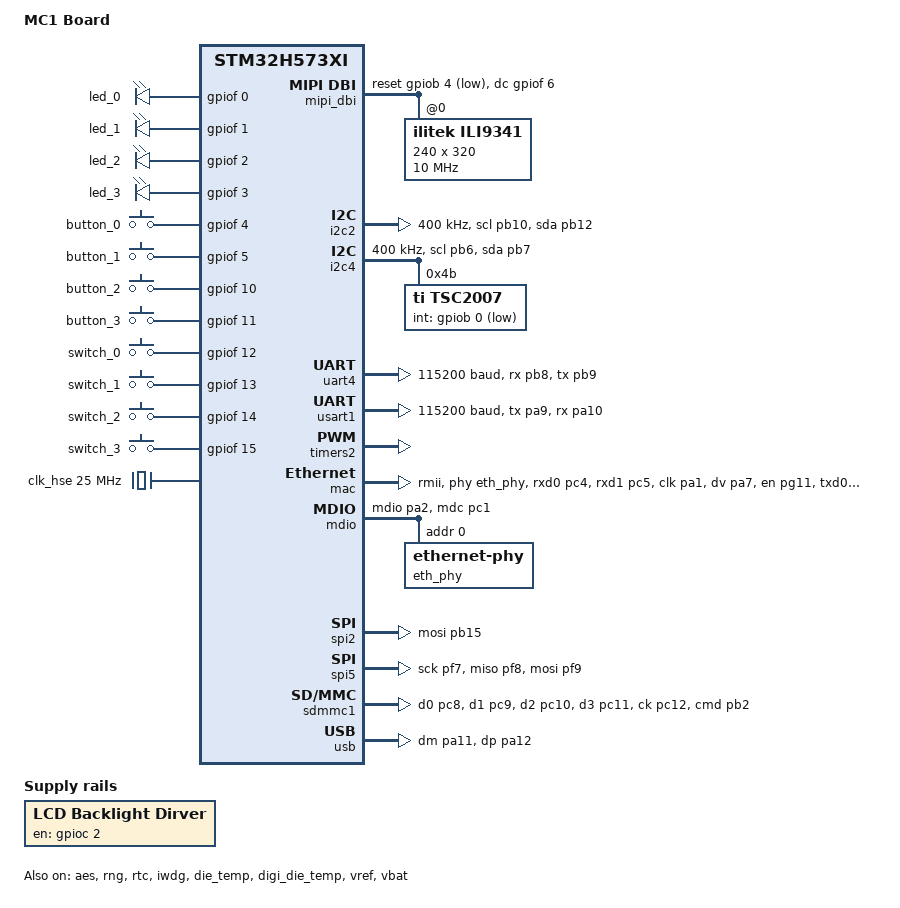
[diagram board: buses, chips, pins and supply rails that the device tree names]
/*
 * Copyright (c) 2023 STMicroelectronics
 *
 * SPDX-License-Identifier: Apache-2.0
 */

/dts-v1/;
#include <st/h5/stm32h573Xi.dtsi>
#include <st/h5/stm32h573iikxq-pinctrl.dtsi>
#include <zephyr/dt-bindings/input/input-event-codes.h>
#include <zephyr/dt-bindings/memory-attr/memory-attr.h>
#include <zephyr/dt-bindings/memory-attr/memory-attr-arm.h>
#include <zephyr/dt-bindings/memory-controller/stm32-fmc-nor-psram.h>
#include <zephyr/dt-bindings/mipi_dbi/mipi_dbi.h>
/ {
	model = "MC1 Board";
	compatible = "zhaw,mc1board";

	chosen {
		zephyr,console = &uart4;
		zephyr,shell-uart = &uart4;
		zephyr,sram = &sram1;
		zephyr,flash = &flash0;
		//zephyr,code-partition = &slot0_partition; // TODO
		zephyr,canbus = &fdcan1;
		zephyr,display = &ili9341;
	};

	aliases {
		watchdog0 = &iwdg;
		volt-sensor0 = &vref;
		volt-sensor1 = &vbat;
		led0 = &led_0;
        led1 = &led_1;
        led2 = &led_2;
        led3 = &led_3;
        t0 = &button_0;
        t1 = &button_1;
        t2 = &button_2;
        t3 = &button_3;
        sw0 = &switch_0;
        sw1 = &switch_1;
        sw2 = &switch_2;
        sw3 = &switch_3;
	};

	leds {
		compatible = "gpio-leds";

		led_0: led_0 {
			gpios = <&gpiof 0 GPIO_ACTIVE_HIGH>;
		};

		led_1: led-1 {
			gpios = <&gpiof 1 GPIO_ACTIVE_HIGH>;
		};

		led_2: led-2 {
			gpios = <&gpiof 2 GPIO_ACTIVE_HIGH>;
		};

		led_3: led-3 {
			gpios = <&gpiof 3 GPIO_ACTIVE_HIGH>;
		};
	};

	gpio_keys {
		compatible = "gpio-keys";

		button_0: button-0 {
			gpios = <&gpiof 4 GPIO_ACTIVE_HIGH>;
			zephyr,code = <INPUT_KEY_0>;
		};

		button_1: button-1 {
			gpios = <&gpiof 5 GPIO_ACTIVE_HIGH>;
			zephyr,code = <INPUT_KEY_1>;
		};

		button_2: button-2 {
			gpios = <&gpiof 10 GPIO_ACTIVE_HIGH>;
			zephyr,code = <INPUT_KEY_2>;
		};

		button_3: button-3 {
			gpios = <&gpiof 11 GPIO_ACTIVE_HIGH>;
			zephyr,code = <INPUT_KEY_3>;
		};

		switch_0: switch-0 {
			gpios = <&gpiof 12 GPIO_ACTIVE_HIGH>;
			zephyr,code = <INPUT_KEY_4>;
		};

		switch_1: switch-1 {
			gpios = <&gpiof 13 GPIO_ACTIVE_HIGH>;
			zephyr,code = <INPUT_KEY_5>;
		};

		switch_2: switch-2 {
			gpios = <&gpiof 14 GPIO_ACTIVE_HIGH>;
			zephyr,code = <INPUT_KEY_6>;
		};

		switch_3: switch-3 {
			gpios = <&gpiof 15 GPIO_ACTIVE_HIGH>;
			zephyr,code = <INPUT_KEY_7>;
		};
	};

	headers {
		compatible = "zhaw,mc1board";

		header_j5 {
			pd0: pd0 { gpios = <&gpiod 0 GPIO_ACTIVE_HIGH>; };
			pd1: pd1 { gpios = <&gpiod 1 GPIO_ACTIVE_HIGH>; };
			pd2: pd2 { gpios = <&gpiod 2 GPIO_ACTIVE_HIGH>; };
			pd3: pd3 { gpios = <&gpiod 3 GPIO_ACTIVE_HIGH>; };
			pd4: pd4 { gpios = <&gpiod 4 GPIO_ACTIVE_HIGH>; };
			pd5: pd5 { gpios = <&gpiod 5 GPIO_ACTIVE_HIGH>; };
			pd6: pd6 { gpios = <&gpiod 6 GPIO_ACTIVE_HIGH>; };
			pd7: pd7 { gpios = <&gpiod 7 GPIO_ACTIVE_HIGH>; };
			pd8: pd8 { gpios = <&gpiod 8 GPIO_ACTIVE_HIGH>; };
			pd9: pd9 { gpios = <&gpiod 9 GPIO_ACTIVE_HIGH>; };
			pd10: pd10 { gpios = <&gpiod 10 GPIO_ACTIVE_HIGH>; };
			pd11: pd11 { gpios = <&gpiod 11 GPIO_ACTIVE_HIGH>; };
		};

		header_j6 {
			pe4: pe4 { gpios = <&gpioe 4 GPIO_ACTIVE_HIGH>; };
			pe5: pe5 { gpios = <&gpioe 5 GPIO_ACTIVE_HIGH>; };
			pe6: pe6 { gpios = <&gpioe 6 GPIO_ACTIVE_HIGH>; };
			pe7: pe7 { gpios = <&gpioe 7 GPIO_ACTIVE_HIGH>; };
			pe8: pe8 { gpios = <&gpioe 8 GPIO_ACTIVE_HIGH>; };
			pe9: pe9 { gpios = <&gpioe 9 GPIO_ACTIVE_HIGH>; };
			pe10: pe10 { gpios = <&gpioe 10 GPIO_ACTIVE_HIGH>; };
			pe11: pe11 { gpios = <&gpioe 11 GPIO_ACTIVE_HIGH>; };
			pe12: pe12 { gpios = <&gpioe 12 GPIO_ACTIVE_HIGH>; };
			pe13: pe13 { gpios = <&gpioe 13 GPIO_ACTIVE_HIGH>; };
			pe14: pe14 { gpios = <&gpioe 14 GPIO_ACTIVE_HIGH>; };
			pe15: pe15 { gpios = <&gpioe 15 GPIO_ACTIVE_HIGH>; };

		};

		header_j7 {
			pg0: pg0 { gpios = <&gpiog 0 GPIO_ACTIVE_HIGH>; };
			pg1: pg1 { gpios = <&gpiog 1 GPIO_ACTIVE_HIGH>; };
			pg2: pg2 { gpios = <&gpiog 2 GPIO_ACTIVE_HIGH>; };
			pg3: pg3 { gpios = <&gpiog 3 GPIO_ACTIVE_HIGH>; };
			pg4: pg4 { gpios = <&gpiog 4 GPIO_ACTIVE_HIGH>; };
			pg5: pg5 { gpios = <&gpiog 5 GPIO_ACTIVE_HIGH>; };
			pg6: pg6 { gpios = <&gpiog 6 GPIO_ACTIVE_HIGH>; };
			pg7: pg7 { gpios = <&gpiog 7 GPIO_ACTIVE_HIGH>; };
			pg8: pg8 { gpios = <&gpiog 8 GPIO_ACTIVE_HIGH>; };
			pg9: pg9 { gpios = <&gpiog 9 GPIO_ACTIVE_HIGH>; };
			pg10: pg10 { gpios = <&gpiog 10 GPIO_ACTIVE_HIGH>; };
			pg14: pg14 { gpios = <&gpiog 14 GPIO_ACTIVE_HIGH>; };
		};
	};

	lcd_bl_ctrl {
		compatible = "regulator-fixed";
		regulator-name = "LCD Backlight Dirver";
		enable-gpios = <&gpioc 2 GPIO_ACTIVE_HIGH>;
		regulator-boot-on;
	};

	mipi_dbi {
		compatible = "zephyr,mipi-dbi-spi";
		dc-gpios = <&gpiof 6 GPIO_ACTIVE_HIGH>;
		reset-gpios = <&gpiob 4 GPIO_ACTIVE_LOW>;
		spi-dev = <&spi5>;
		write-only;
		#address-cells = <0x1>;
		#size-cells = <0x0>;

		ili9341: ili9341@0 {
			compatible = "ilitek,ili9341";
			mipi-max-frequency = <0x989680>; //<0x55d4a8>;
			reg = <0x0>;
			width = <240>;
			height = <320>;
			rotation = <180>;
			mipi-mode = "MIPI_DBI_MODE_SPI_4WIRE";
			pixel-format = <0x0>; // This line fixed the missing pixels
			//pgamctrl = [0F 29 24 0c 0e 09 4e 78 3c 09 13 05 17 11 00];
			//ngamctrl = [00 16 1b 04 11 07 31 33 42 05 0c 0a 28 2f 0f];
		};
	};

	lvgl_pointer {
		compatible = "zephyr,lvgl-pointer-input";
        input = <&tsc2007>;
		display = <&ili9341>;
		invert-y;
	};
};

&fmc {

};

&clk_hsi48 {
	status = "okay";
};

&clk_lse {
	status = "okay";
};

&clk_hse {
	clock-frequency = <DT_FREQ_M(25)>;
	status = "okay";
};

&pll {
	div-m = <5>;
	mul-n = <96>;
	div-p = <2>;
	div-q = <10>; // old value 6
	div-r = <2>;
	clocks = <&clk_hse>;
	status = "okay";
};

&rcc {
	clocks = <&pll>;
	clock-frequency = <DT_FREQ_M(240)>;
	ahb-prescaler = <1>;
	apb1-prescaler = <2>;
	apb2-prescaler = <1>;
	apb3-prescaler = <1>;
};

&i2c2 {
	pinctrl-0 = <&i2c2_scl_pb10 &i2c2_sda_pb12>;
	pinctrl-names = "default";
	clock-frequency = <I2C_BITRATE_FAST>;
	status = "okay";
};

&i2c4 {
	pinctrl-0 = <&i2c4_scl_pb6 &i2c4_sda_pb7>;
	pinctrl-names = "default";
	clock-frequency = <I2C_BITRATE_FAST>;
	status = "okay";

    tsc2007: tsc2007@4b {
        compatible = "ti,tsc2007";
        status = "okay";
        reg = <0x4b>;
        int-gpios = <&gpiob 0 (GPIO_PULL_UP | GPIO_ACTIVE_LOW)>;
        screen-width = <240>;
        screen-height = <320>;
        raw-x-min = <0>;
        raw-y-min = <0>;
        raw-x-max = <4095>;
        raw-y-max = <4095>;
    };
};

&uart4 {
	pinctrl-0 = <&uart4_rx_pb8 &uart4_tx_pb9>;
	pinctrl-names = "default";
	current-speed = <115200>;
	single-wire;
	status = "okay";
};

&usart1 {
	pinctrl-0 = <&usart1_tx_pa9 &usart1_rx_pa10>;
	pinctrl-names = "default";
	current-speed = <115200>;
	status = "okay";
};

&usart3 {
	pinctrl-0 = <&usart3_tx_pb10 &usart3_rx_pb11>;
	pinctrl-names = "default";
	current-speed = <115200>;
	status = "disabled";
};

&timers2 {
	st,prescaler = <10>;
	status = "okay";

	pwm2: pwm {
		status = "okay";
		pinctrl-0 = <&tim2_ch4_pa3>;
		pinctrl-names = "default";
	};
};

&timers3 {
	st,prescaler = <10000>;
	status = "disabled";

	pwm3: pwm {
		status = "disabled";
		pinctrl-0 = <&tim3_ch2_pb5>;
		pinctrl-names = "default";
	};
};
/*
&timers12 {
	st,prescaler = <100>;
	status = "okay";

	pwm12: pwm {
		status = "okay";
		pinctrl-0 = <&tim12_ch2_pb15>;
		pinctrl-names = "default";
	};
};
*/
// advanced encryption standard
&aes {
	status = "okay";
};

// random number generation
&rng {
	status = "okay";
};

// media access control
&mac {
	status = "okay";
	pinctrl-0 = <&eth_rxd0_pc4
		     &eth_rxd1_pc5
		     &eth_ref_clk_pa1
		     &eth_crs_dv_pa7
		     &eth_tx_en_pg11
		     &eth_txd0_pg13
		     &eth_txd1_pg12>;
	pinctrl-names = "default";
	phy-connection-type = "rmii";
	phy-handle = <&eth_phy>;
};

// management data input/output
&mdio {
	status = "okay";
	pinctrl-0 = <&eth_mdio_pa2 &eth_mdc_pc1>;
	pinctrl-names = "default";

	eth_phy: ethernet-phy@0 {
		compatible = "ethernet-phy";
		reg = <0x00>;
	};
};

&flash0 {
	partitions {
		compatible = "fixed-partitions";
		#address-cells = <1>;
		#size-cells = <1>;

		/* Set the partitions with first MB to make use of the whole Bank1 */
		boot_partition: partition@0 {
			label = "mcuboot";
			reg = <0x00000000 DT_SIZE_K(64)>;
		};

		/* Set 64KB of storage at the end of Bank1 */
		storage_partition: partition@f0000 {
			label = "storage";
			reg = <0x000f0000 DT_SIZE_K(64)>;
		};
	};
};

&rtc {
	clocks = <&rcc STM32_CLOCK_BUS_APB3 0x00200000>,
		 <&rcc STM32_SRC_LSE RTC_SEL(1)>;
	status = "okay";
};

&iwdg {
	status = "okay";
};

&gpdma1 {
	status = "okay";
};

&gpdma2 {
	status = "okay";
};

&spi1 {
	status = "disabled";
	pinctrl-0 = <&spi1_sck_pa5
		     &spi1_mosi_pb5>;
	pinctrl-names = "default";
};

&spi2 {
	status = "okay";
	pinctrl-0 = <&spi2_mosi_pb15>;
	pinctrl-names = "default";
	dmas = <&gpdma1 0 9 0x10440>, <&gpdma1 1 8 0x10480>;
	dma-names = "tx", "rx";
};

&spi5 {
	status = "okay";
	pinctrl-0 = <&spi5_sck_pf7
		     &spi5_miso_pf8 
		     &spi5_mosi_pf9>;
	cs-gpios = <&gpioc 3 GPIO_ACTIVE_LOW>;
	pinctrl-names = "default";
};

&spi6 {
	status = "disabled";
	pinctrl-0 = <&spi6_sck_pa5
		     &spi6_miso_pa6
		     &spi6_mosi_pb5>;
	pinctrl-names = "default";
};

&sdmmc1 {
	compatible = "st,stm32-sdmmc";
	pinctrl-0 = <&sdmmc1_d0_pc8 &sdmmc1_d1_pc9
		     &sdmmc1_d2_pc10 &sdmmc1_d3_pc11
		     &sdmmc1_ck_pc12 &sdmmc1_cmd_pb2>;
	pinctrl-names = "default";
	// cd-gpios = <&gpioh 14 (GPIO_ACTIVE_LOW | GPIO_PULL_UP)>;
	disk-name = "SD";
	status = "okay";
};

zephyr_udc0: &usb {
	pinctrl-0 = <&usb_dm_pa11 &usb_dp_pa12>;
	pinctrl-names = "default";
	status = "okay";
};

&die_temp {
	status = "okay";
};

&digi_die_temp {
	status = "okay";
};

&vref {
	status = "okay";
};

&vbat {
	status = "okay";
};

